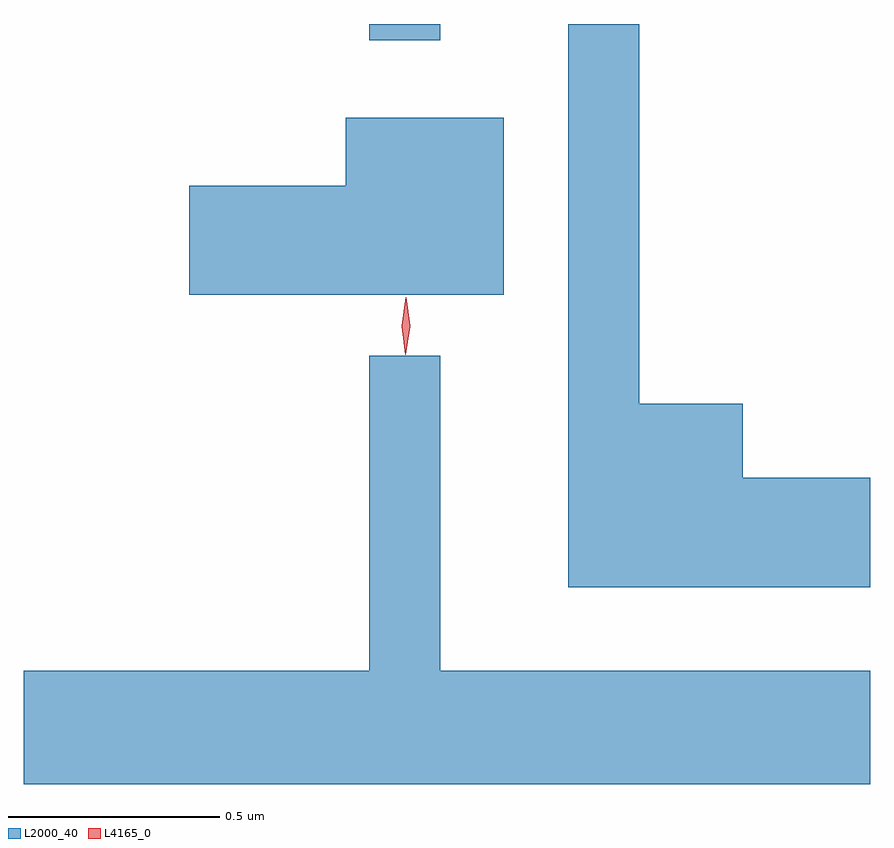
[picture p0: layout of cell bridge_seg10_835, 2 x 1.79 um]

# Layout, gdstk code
import gdstk
lib = gdstk.Library(unit=1e-6, precision=1e-09)
def R(c, l, rs):  # rectangles x0, y0, x1, y1
    for r in rs: c.add(gdstk.rectangle(r[:2], r[2:], *l))
def P(c, l, *ps):  # polygons
    for p in ps: c.add(gdstk.Polygon(p, *l))
L2000_40 = (2000, 40)
L4165_0 = (4165, 0)

bridge_seg10_835 = lib.new_cell('bridge_seg10_835')
R(bridge_seg10_835, L2000_40, [(607.551,2089.033,607.719,2089.071)])
P(bridge_seg10_835, L2000_40, [(608.735,2087.999),(608.434,2087.999),(608.434,2088.174),(608.189,2088.174),(608.189,2089.071),(608.021,2089.071),(608.021,2087.741),(608.735,2087.741)],
  [(607.869,2088.849),(607.496,2088.849),(607.496,2088.689),(607.126,2088.689),(607.126,2088.431),(607.869,2088.431)],
  [(608.735,2087.544),(607.719,2087.544),(607.719,2088.288),(607.551,2088.288),(607.551,2087.544),(606.735,2087.544),(606.735,2087.276),(608.735,2087.276)])
P(bridge_seg10_835, L4165_0, [(607.637,2088.293),(607.636,2088.294),(607.628,2088.356),(607.638,2088.419),(607.639,2088.42),(607.639,2088.419),(607.648,2088.356),(607.638,2088.294)],
  [(607.636,2088.29),(607.628,2088.358),(607.638,2088.426),(607.638,2088.426),(607.639,2088.426),(607.648,2088.358),(607.638,2088.29),(607.637,2088.29)])

lib.write_gds('bridge_seg10_835.gds')
